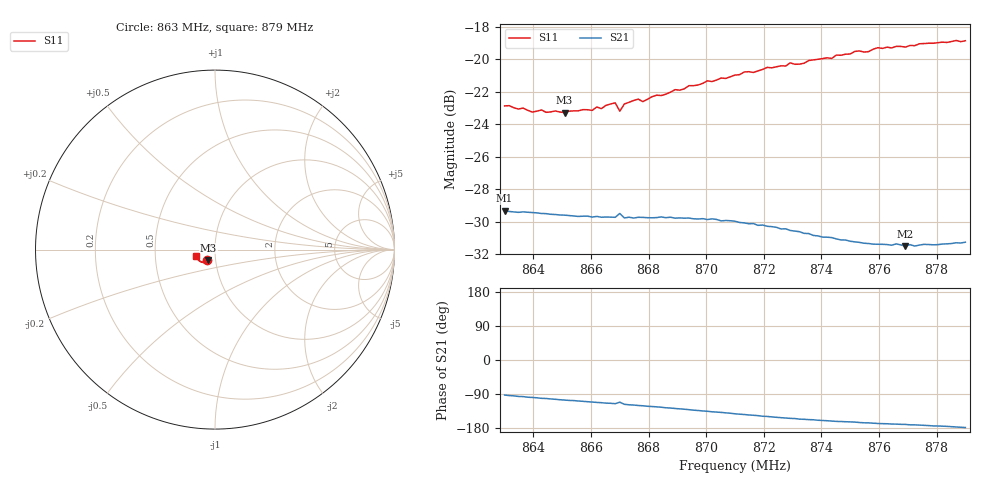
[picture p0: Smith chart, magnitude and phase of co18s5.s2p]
# HZ S RI R 50
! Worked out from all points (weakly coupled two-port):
!   101 points, 863 MHz to 879 MHz, reference 50 ohm
!   highest |S21| = -29.32 dB at 863 MHz (marker M1); lowest = -31.5 dB at 876.92 MHz (marker M2)
!   lowest |S11| = -23.3 dB at 865.08 MHz (marker M3), VSWR 1.15, Z = 46.1 - j5.36 ohm
!   |S11| at or under -10 dB: start of sweep to end of sweep
!   S12 and S22 are empty: the file has one direction only
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8.63e8  -0.0435 -0.0572  -0.00146 -0.0342  0 0  0 0
8.6396e8  -0.0407 -0.0556  -0.00514 -0.0334  0 0  0 0
8.6428e8  -0.0394 -0.0578  -0.00647 -0.0329  0 0  0 0
8.6508e8  -0.0369 -0.0578  -0.00896 -0.0319  0 0  0 0
8.6572e8  -0.0365 -0.0598  -0.0107 -0.0311  0 0  0 0
8.6636e8  -0.0374 -0.0598  -0.0126 -0.0301  0 0  0 0
8.6684e8  -0.0375 -0.0632  -0.014 -0.0295  0 0  0 0
8.67e8  -0.0283 -0.0632  -0.0122 -0.0312  0 0  0 0
8.6716e8  -0.0368 -0.063  -0.0147 -0.029  0 0  0 0
8.6748e8  -0.0372 -0.0648  -0.0156 -0.0284  0 0  0 0
8.678e8  -0.037 -0.0643  -0.0167 -0.028  0 0  0 0
8.6844e8  -0.0386 -0.0671  -0.0186 -0.0269  0 0  0 0
8.694e8  -0.044 -0.0704  -0.0213 -0.0245  0 0  0 0
8.71e8  -0.0522 -0.0727  -0.025 -0.0196  0 0  0 0
8.7372e8  -0.0704 -0.0706  -0.0266 -0.0109  0 0  0 0
8.7436e8  -0.074 -0.0683  -0.0267 -0.00914  0 0  0 0
8.7516e8  -0.0827 -0.066  -0.0263 -0.00764  0 0  0 0
8.7564e8  -0.085 -0.0628  -0.0263 -0.00658  0 0  0 0
8.7596e8  -0.089 -0.0624  -0.0263 -0.00583  0 0  0 0
8.7644e8  -0.0921 -0.0574  -0.0263 -0.0051  0 0  0 0
8.7692e8  -0.0949 -0.054  -0.0262 -0.00461  0 0  0 0
8.79e8  -0.108 -0.037  -0.0273 -0.000842  0 0  0 0
